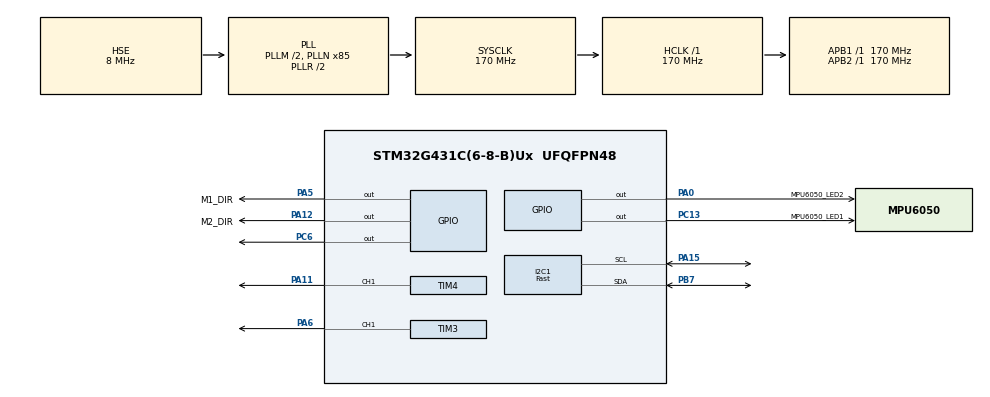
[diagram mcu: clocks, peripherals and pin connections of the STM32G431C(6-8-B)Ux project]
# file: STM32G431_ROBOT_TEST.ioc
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I2C1.Analog_Filter=I2C_ANALOGFILTER_ENABLE
I2C1.CustomTiming=Disabled
I2C1.I2C_Speed_Mode=I2C_Fast
I2C1.Timing=0x40621236
Mcu.Family=STM32G4
Mcu.Name=STM32G431C(6-8-B)Ux
Mcu.Package=UFQFPN48
NVIC.PriorityGroup=NVIC_PRIORITYGROUP_4
PA0.GPIO_Label=MPU6050_LED2
PA0.Signal=GPIO_Output
PA11.Signal=S_TIM4_CH1
PA12.GPIO_Label=M2_DIR
PA12.Signal=GPIO_Output
PA13.Mode=Serial_Wire
PA13.Signal=SYS_JTMS-SWDIO
PA14.Mode=Serial_Wire
PA14.Signal=SYS_JTCK-SWCLK
PA15.Mode=I2C
PA15.Signal=I2C1_SCL
PA5.GPIO_Label=M1_DIR
PA5.Signal=GPIO_Output
PA6.Signal=S_TIM3_CH1
PB7.Mode=I2C
PB7.Signal=I2C1_SDA
PC13.GPIO_Label=MPU6050_LED1
PC13.PinState=GPIO_PIN_SET
PC13.Signal=GPIO_Output
PC6.Signal=GPIO_Output
PF0-OSC_IN.Mode=HSE-External-Oscillator
PF0-OSC_IN.Signal=RCC_OSC_IN
PF1-OSC_OUT.Mode=HSE-External-Oscillator
PF1-OSC_OUT.Signal=RCC_OSC_OUT
ProjectManager.HeapSize=0x200
ProjectManager.StackSize=0x400
ProjectManager.TargetToolchain=STM32CubeIDE
RCC.ADC12Freq_Value=170000000
RCC.AHBFreq_Value=170000000
RCC.APB1Freq_Value=170000000
RCC.APB1TimFreq_Value=170000000
RCC.APB2Freq_Value=170000000
RCC.APB2TimFreq_Value=170000000
RCC.CortexFreq_Value=170000000
RCC.EXTERNAL_CLOCK_VALUE=12288000
RCC.HCLKFreq_Value=170000000
RCC.HSE_VALUE=8000000
RCC.HSI48_VALUE=48000000
RCC.HSI_VALUE=16000000
RCC.LSE_VALUE=32768
RCC.PLLM=RCC_PLLM_DIV2
RCC.PLLN=85
RCC.PLLSourceVirtual=RCC_PLLSOURCE_HSE
RCC.SYSCLKFreq_VALUE=170000000
RCC.SYSCLKSource=RCC_SYSCLKSOURCE_PLLCLK
RCC.USBFreq_Value=170000000
RCC.VCOOutputFreq_Value=340000000
SH.S_TIM3_CH1.0=TIM3_CH1,PWM Generation1 CH1
SH.S_TIM4_CH1.0=TIM4_CH1,PWM Generation1 CH1
TIM3.AutoReloadPreload=TIM_AUTORELOAD_PRELOAD_ENABLE
TIM3.Channel-PWM\ Generation1\ CH1=TIM_CHANNEL_1
TIM3.Prescaler=170-1
TIM4.AutoReloadPreload=TIM_AUTORELOAD_PRELOAD_ENABLE
TIM4.Channel-PWM\ Generation1\ CH1=TIM_CHANNEL_1
TIM4.PeriodNoDither=50-1
TIM4.Prescaler=40000-1
VP_SYS_VS_DBSignals.Mode=DisableDeadBatterySignals
VP_TIM3_VS_ClockSourceINT.Mode=Internal
VP_TIM4_VS_ClockSourceINT.Mode=Internal
board=custom

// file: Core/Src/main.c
/* USER CODE BEGIN Header */
/**
  ******************************************************************************
  * @file           : main.c
  * @brief          : Main program body
  ******************************************************************************
  * @attention
  *
  * Copyright (c) 2024 STMicroelectronics.
  * All rights reserved.
  *
  * This software is licensed under terms that can be found in the LICENSE file
  * in the root directory of this software component.
  * If no LICENSE file comes with this software, it is provided AS-IS.
  *
  ******************************************************************************
  */
/* USER CODE END Header */
#include "main.h"

/* USER CODE BEGIN Includes */
#include "mpu6050.h"
#include "A4988_Control.h"
/* USER CODE END Includes */

I2C_HandleTypeDef hi2c1;

TIM_HandleTypeDef htim3;
TIM_HandleTypeDef htim4;

/* USER CODE BEGIN PV */
MPU6050_t MPU6050;
A4988_t M1_driver;
A4988_t M2_driver;

float AngX, AngY;
/* USER CODE END PV */

void SystemClock_Config(void);
static void MX_GPIO_Init(void);
static void MX_I2C1_Init(void);
static void MX_TIM3_Init(void);
static void MX_TIM4_Init(void);

int main(void)
{

  /* MCU Configuration--------------------------------------------------------*/

  /* Reset of all peripherals, Initializes the Flash interface and the Systick. */
  HAL_Init();

  /* Configure the system clock */
  SystemClock_Config();

  /* Initialize all configured peripherals */
  MX_GPIO_Init();
  MX_I2C1_Init();
  MX_TIM3_Init();
  MX_TIM4_Init();
  /* USER CODE BEGIN 2 */

  MPU6050.LED1 = MPU6050_LED1_GPIO_Port;
  MPU6050.LED1_Pin = MPU6050_LED1_Pin;
  MPU6050.LED2 = MPU6050_LED2_GPIO_Port;
  MPU6050.LED2_Pin = MPU6050_LED2_Pin;

  M1_driver.Timer = &htim3;
  M1_driver.Direction_Port = M1_DIR_GPIO_Port;
  M1_driver.Direction_Pin = M1_DIR_Pin;

  M2_driver.Timer = &htim4;
  M2_driver.Direction_Port = M2_DIR_GPIO_Port;
  M2_driver.Direction_Pin = M2_DIR_Pin;

  MPU6050_Init(&hi2c1);

  A4988_Init(&M1_driver);
  A4988_Init(&M2_driver);

  /* USER CODE END 2 */

  /* Infinite loop */
  /* USER CODE BEGIN WHILE */
  while (1)
  {
	  MPU6050_Read_All(&hi2c1, &MPU6050);
	  MPU6050_Upled(&MPU6050);

	  A4988_Set_Speed(&M2_driver, -100);
	  A4988_Set_Speed(&M1_driver, 100);

	  HAL_Delay(1000);

	  A4988_Set_Speed(&M2_driver, 100);
	  A4988_Set_Speed(&M1_driver, -100);

	  HAL_Delay(1000);

	  A4988_Set_Speed(&M2_driver, -50);
	  A4988_Set_Speed(&M1_driver, 50);

	  HAL_Delay(1000);

	  A4988_Set_Speed(&M2_driver, 50);
	  A4988_Set_Speed(&M1_driver, -50);

	  HAL_Delay(1000);

	  A4988_Set_Speed(&M2_driver, -10);
	  A4988_Set_Speed(&M1_driver, 10);

	  HAL_Delay(1000);

	  A4988_Set_Speed(&M2_driver, 10);
	  A4988_Set_Speed(&M1_driver, -10);

	  HAL_Delay(1000);

    /* USER CODE END WHILE */

  }
}

void SystemClock_Config(void)
{
  RCC_OscInitTypeDef RCC_OscInitStruct = {0};
  RCC_ClkInitTypeDef RCC_ClkInitStruct = {0};

  /** Configure the main internal regulator output voltage
  */
  HAL_PWREx_ControlVoltageScaling(PWR_REGULATOR_VOLTAGE_SCALE1_BOOST);

  /** Initializes the RCC Oscillators according to the specified parameters
  * in the RCC_OscInitTypeDef structure.
  */
  RCC_OscInitStruct.OscillatorType = RCC_OSCILLATORTYPE_HSE;
  RCC_OscInitStruct.HSEState = RCC_HSE_ON;
  RCC_OscInitStruct.PLL.PLLState = RCC_PLL_ON;
  RCC_OscInitStruct.PLL.PLLSource = RCC_PLLSOURCE_HSE;
  RCC_OscInitStruct.PLL.PLLM = RCC_PLLM_DIV2;
  RCC_OscInitStruct.PLL.PLLN = 85;
  RCC_OscInitStruct.PLL.PLLP = RCC_PLLP_DIV2;
  RCC_OscInitStruct.PLL.PLLQ = RCC_PLLQ_DIV2;
  RCC_OscInitStruct.PLL.PLLR = RCC_PLLR_DIV2;
  if (HAL_RCC_OscConfig(&RCC_OscInitStruct) != HAL_OK)
  {
    Error_Handler();
  }

  /** Initializes the CPU, AHB and APB buses clocks
  */
  RCC_ClkInitStruct.ClockType = RCC_CLOCKTYPE_HCLK|RCC_CLOCKTYPE_SYSCLK
                              |RCC_CLOCKTYPE_PCLK1|RCC_CLOCKTYPE_PCLK2;
  RCC_ClkInitStruct.SYSCLKSource = RCC_SYSCLKSOURCE_PLLCLK;
  RCC_ClkInitStruct.AHBCLKDivider = RCC_SYSCLK_DIV1;
  RCC_ClkInitStruct.APB1CLKDivider = RCC_HCLK_DIV1;
  RCC_ClkInitStruct.APB2CLKDivider = RCC_HCLK_DIV1;

  if (HAL_RCC_ClockConfig(&RCC_ClkInitStruct, FLASH_LATENCY_4) != HAL_OK)
  {
    Error_Handler();
  }
}

static void MX_I2C1_Init(void)
{

  hi2c1.Instance = I2C1;
  hi2c1.Init.Timing = 0x40621236;
  hi2c1.Init.OwnAddress1 = 0;
  hi2c1.Init.AddressingMode = I2C_ADDRESSINGMODE_7BIT;
  hi2c1.Init.DualAddressMode = I2C_DUALADDRESS_DISABLE;
  hi2c1.Init.OwnAddress2 = 0;
  hi2c1.Init.OwnAddress2Masks = I2C_OA2_NOMASK;
  hi2c1.Init.GeneralCallMode = I2C_GENERALCALL_DISABLE;
  hi2c1.Init.NoStretchMode = I2C_NOSTRETCH_DISABLE;
  if (HAL_I2C_Init(&hi2c1) != HAL_OK)
  {
    Error_Handler();
  }

  /** Configure Analogue filter
  */
  if (HAL_I2CEx_ConfigAnalogFilter(&hi2c1, I2C_ANALOGFILTER_ENABLE) != HAL_OK)
  {
    Error_Handler();
  }

  /** Configure Digital filter
  */
  if (HAL_I2CEx_ConfigDigitalFilter(&hi2c1, 0) != HAL_OK)
  {
    Error_Handler();
  }

}

static void MX_TIM3_Init(void)
{

  TIM_ClockConfigTypeDef sClockSourceConfig = {0};
  TIM_MasterConfigTypeDef sMasterConfig = {0};
  TIM_OC_InitTypeDef sConfigOC = {0};

  htim3.Instance = TIM3;
  htim3.Init.Prescaler = 170-1;
  htim3.Init.CounterMode = TIM_COUNTERMODE_UP;
  htim3.Init.Period = 65535;
  htim3.Init.ClockDivision = TIM_CLOCKDIVISION_DIV1;
  htim3.Init.AutoReloadPreload = TIM_AUTORELOAD_PRELOAD_ENABLE;
  if (HAL_TIM_Base_Init(&htim3) != HAL_OK)
  {
    Error_Handler();
  }
  sClockSourceConfig.ClockSource = TIM_CLOCKSOURCE_INTERNAL;
  if (HAL_TIM_ConfigClockSource(&htim3, &sClockSourceConfig) != HAL_OK)
  {
    Error_Handler();
  }
  if (HAL_TIM_PWM_Init(&htim3) != HAL_OK)
  {
    Error_Handler();
  }
  sMasterConfig.MasterOutputTrigger = TIM_TRGO_RESET;
  sMasterConfig.MasterSlaveMode = TIM_MASTERSLAVEMODE_DISABLE;
  if (HAL_TIMEx_MasterConfigSynchronization(&htim3, &sMasterConfig) != HAL_OK)
  {
    Error_Handler();
  }
  sConfigOC.OCMode = TIM_OCMODE_PWM1;
  sConfigOC.Pulse = 0;
  sConfigOC.OCPolarity = TIM_OCPOLARITY_HIGH;
  sConfigOC.OCFastMode = TIM_OCFAST_DISABLE;
  if (HAL_TIM_PWM_ConfigChannel(&htim3, &sConfigOC, TIM_CHANNEL_1) != HAL_OK)
  {
    Error_Handler();
  }
  HAL_TIM_MspPostInit(&htim3);

}

static void MX_TIM4_Init(void)
{

  TIM_ClockConfigTypeDef sClockSourceConfig = {0};
  TIM_MasterConfigTypeDef sMasterConfig = {0};
  TIM_OC_InitTypeDef sConfigOC = {0};

  htim4.Instance = TIM4;
  htim4.Init.Prescaler = 40000-1;
  htim4.Init.CounterMode = TIM_COUNTERMODE_UP;
  htim4.Init.Period = 49;
  htim4.Init.ClockDivision = TIM_CLOCKDIVISION_DIV1;
  htim4.Init.AutoReloadPreload = TIM_AUTORELOAD_PRELOAD_ENABLE;
  if (HAL_TIM_Base_Init(&htim4) != HAL_OK)
  {
    Error_Handler();
  }
  sClockSourceConfig.ClockSource = TIM_CLOCKSOURCE_INTERNAL;
  if (HAL_TIM_ConfigClockSource(&htim4, &sClockSourceConfig) != HAL_OK)
  {
    Error_Handler();
  }
  if (HAL_TIM_PWM_Init(&htim4) != HAL_OK)
  {
    Error_Handler();
  }
  sMasterConfig.MasterOutputTrigger = TIM_TRGO_RESET;
  sMasterConfig.MasterSlaveMode = TIM_MASTERSLAVEMODE_DISABLE;
  if (HAL_TIMEx_MasterConfigSynchronization(&htim4, &sMasterConfig) != HAL_OK)
  {
    Error_Handler();
  }
  sConfigOC.OCMode = TIM_OCMODE_PWM1;
  sConfigOC.Pulse = 0;
  sConfigOC.OCPolarity = TIM_OCPOLARITY_HIGH;
  sConfigOC.OCFastMode = TIM_OCFAST_DISABLE;
  if (HAL_TIM_PWM_ConfigChannel(&htim4, &sConfigOC, TIM_CHANNEL_1) != HAL_OK)
  {
    Error_Handler();
  }
  HAL_TIM_MspPostInit(&htim4);

}

static void MX_GPIO_Init(void)
{
  GPIO_InitTypeDef GPIO_InitStruct = {0};

  /* GPIO Ports Clock Enable */
  __HAL_RCC_GPIOC_CLK_ENABLE();
  __HAL_RCC_GPIOF_CLK_ENABLE();
  __HAL_RCC_GPIOA_CLK_ENABLE();
  __HAL_RCC_GPIOB_CLK_ENABLE();

  /*Configure GPIO pin Output Level */
  HAL_GPIO_WritePin(MPU6050_LED1_GPIO_Port, MPU6050_LED1_Pin, GPIO_PIN_SET);

  /*Configure GPIO pin Output Level */
  HAL_GPIO_WritePin(GPIOA, MPU6050_LED2_Pin|M1_DIR_Pin|M2_DIR_Pin, GPIO_PIN_RESET);

  /*Configure GPIO pin Output Level */
  HAL_GPIO_WritePin(GPIOC, GPIO_PIN_6, GPIO_PIN_RESET);

  /*Configure GPIO pins : MPU6050_LED1_Pin PC6 */
  GPIO_InitStruct.Pin = MPU6050_LED1_Pin|GPIO_PIN_6;
  GPIO_InitStruct.Mode = GPIO_MODE_OUTPUT_PP;
  GPIO_InitStruct.Pull = GPIO_NOPULL;
  GPIO_InitStruct.Speed = GPIO_SPEED_FREQ_LOW;
  HAL_GPIO_Init(GPIOC, &GPIO_InitStruct);

  /*Configure GPIO pins : MPU6050_LED2_Pin M1_DIR_Pin M2_DIR_Pin */
  GPIO_InitStruct.Pin = MPU6050_LED2_Pin|M1_DIR_Pin|M2_DIR_Pin;
  GPIO_InitStruct.Mode = GPIO_MODE_OUTPUT_PP;
  GPIO_InitStruct.Pull = GPIO_NOPULL;
  GPIO_InitStruct.Speed = GPIO_SPEED_FREQ_LOW;
  HAL_GPIO_Init(GPIOA, &GPIO_InitStruct);

}

void Error_Handler(void)
{
  __disable_irq();
  while (1)
  {
  }
}
